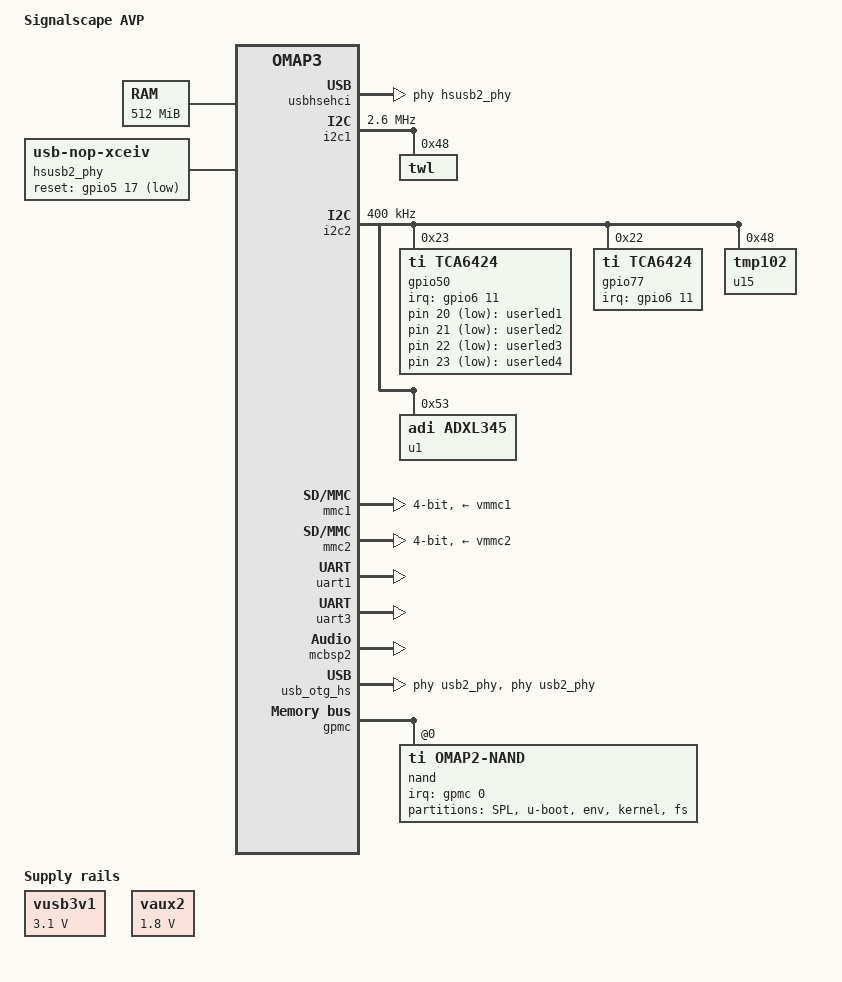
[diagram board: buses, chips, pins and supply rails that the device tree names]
/* -*- mode: dts-mode; */

/dts-v1/;

#include "omap36xx.dtsi"

/ {
	model = "Signalscape AVP";
	compatible = "signalscape,avp", "ti,omap3630", "ti,omap36xx", "ti,omap3";
	chosen {
		bootargs = "earlyprintk console=ttyO2,115200n8 console=ttyS2,115200n8";
	};

	cpus {
		cpu@0 {
			cpu0-supply = <&vcc>;
		};
	};

	memory {
		device_type = "memory";
		reg = <0x80000000 0x20000000>; /* 512 MB */
	};

	leds {
		compatible = "gpio-leds";
		heartbeat: userled1 {
			label = "userled1";
			gpios = <&gpio50 20 GPIO_ACTIVE_LOW>;
			linux,default-trigger = "heartbeat";
		};

		userled2: userled2 {
			label = "userled2";
			gpios = <&gpio50 21 GPIO_ACTIVE_LOW>;
			linux,default-trigger = "none";
		};

		userled3: userled3 {
			label = "userled3";
			gpios = <&gpio50 22 GPIO_ACTIVE_LOW>;
			linux,default-trigger = "none";
		};

		userled4: userled4 {
			label = "userled4";
			gpios = <&gpio50 23 GPIO_ACTIVE_LOW>;
			linux,default-trigger = "none";
		};
	};

#if 0
	/* TODO: if we brute-force these all on like this, then the
	associated USB devices don't enumerate properly AND we can't
	bounce them from userspace */

	usb_eth_en: usb_eth_en {
		compatible = "regulator-fixed";
		regulator-name = "usb_eth_en";
		regulator-min-microvolt = <3300000>;
		regulator-max-microvolt = <3300000>;
		gpio = <&gpio50 18 GPIO_ACTIVE_HIGH>;
		enable-active-high;
	};

	ledpwr_en {
		compatible = "regulator-fixed";
		regulator-name = "ledpwr_en";
		regulator-min-microvolt = <3300000>;
		regulator-max-microvolt = <3300000>;
		gpio = <&gpio50 11 GPIO_ACTIVE_HIGH>;
		enable-active-high;
		regulator-always-on;
	};

	gps_en {
		compatible = "regulator-fixed";
		regulator-name = "gps_en";
		regulator-min-microvolt = <3300000>;
		regulator-max-microvolt = <3300000>;
		gpio = <&gpio50 13 GPIO_ACTIVE_HIGH>;
		enable-active-high;
		regulator-always-on;
	};

	u56_en {
		compatible = "regulator-fixed";
		regulator-name = "7porthub1_en";
		regulator-min-microvolt = <3300000>;
		regulator-max-microvolt = <3300000>;
		gpio = <&gpio77 12 GPIO_ACTIVE_HIGH>;
		enable-active-high;
		regulator-always-on;
	};

	u71_en {
		compatible = "regulator-fixed";
		regulator-name = "7porthub2_en";
		regulator-min-microvolt = <3300000>;
		regulator-max-microvolt = <3300000>;
		gpio = <&gpio77 9 GPIO_ACTIVE_HIGH>;
		enable-active-high;
		regulator-always-on;
	};

	u73_en {
		compatible = "regulator-fixed";
		regulator-name = "quart1_en";
		regulator-min-microvolt = <3300000>;
		regulator-max-microvolt = <3300000>;
		gpio = <&gpio77 13 GPIO_ACTIVE_HIGH>;
		enable-active-high;
		regulator-always-on;
	};

	u72_en {
		compatible = "regulator-fixed";
		regulator-name = "quart2_en";
		regulator-min-microvolt = <3300000>;
		regulator-max-microvolt = <3300000>;
		gpio = <&gpio77 8 GPIO_ACTIVE_HIGH>;
		enable-active-high;
		regulator-always-on;
	};

	usb_a_top_en {
		compatible = "regulator-fixed";
		regulator-name = "usb_a_top_en";
		regulator-min-microvolt = <5000000>;
		regulator-max-microvolt = <5000000>;
		gpio = <&gpio77 15 GPIO_ACTIVE_HIGH>;
		enable-active-high;
		regulator-always-on;
	};

	usb_a_bot_en {
		compatible = "regulator-fixed";
		regulator-name = "usb_a_bot_en";
		regulator-min-microvolt = <5000000>;
		regulator-max-microvolt = <5000000>;
		gpio = <&gpio77 16 GPIO_ACTIVE_HIGH>;
		enable-active-high;
		regulator-always-on;
	};
#endif
};

&omap3_pmx_core {
	pinctrl-names = "default";
	pinctrl-0 = <&hsusb2_pins>;

	i2c1_pins: pinmux_i2c1_pins {
		pinctrl-single,pins = <
			OMAP3_CORE1_IOPAD(0x21c8, PIN_INPUT | MUX_MODE4)		/* mcspi1_clk.gpio_171 */
			OMAP3_CORE1_IOPAD(0x21ba, PIN_INPUT | MUX_MODE0)		/* i2c1_scl.i2c1_scl */
			OMAP3_CORE1_IOPAD(0x21bc, PIN_INPUT | MUX_MODE0)		/* i2c1_sda.i2c1_sda */
		>;
	};

	i2c2_pins: pinmux_i2c2_pins {
		pinctrl-single,pins = <
			OMAP3_CORE1_IOPAD(0x21be, PIN_INPUT | MUX_MODE0)		/* i2c2_scl.i2c2_scl */
			OMAP3_CORE1_IOPAD(0x21c0, PIN_INPUT | MUX_MODE0)		/* i2c2_sda.i2c2_sda */
		>;
	};

	mmc1_pins: pinmux_mmc1_pins {
		pinctrl-single,pins = <
			OMAP3_CORE1_IOPAD(0x2144, PIN_INPUT_PULLUP | MUX_MODE0)		/* sdmmc1_clk.sdmmc1_clk */
			OMAP3_CORE1_IOPAD(0x2146, PIN_INPUT_PULLUP | MUX_MODE0)		/* sdmmc1_cmd.sdmmc1_cmd */
			OMAP3_CORE1_IOPAD(0x2148, PIN_INPUT_PULLUP | MUX_MODE0)		/* sdmmc1_dat0.sdmmc1_dat0 */
			OMAP3_CORE1_IOPAD(0x214a, PIN_INPUT_PULLUP | MUX_MODE0)		/* sdmmc1_dat1.sdmmc1_dat1 */
			OMAP3_CORE1_IOPAD(0x214c, PIN_INPUT_PULLUP | MUX_MODE0)		/* sdmmc1_dat2.sdmmc1_dat2 */
			OMAP3_CORE1_IOPAD(0x214e, PIN_INPUT_PULLUP | MUX_MODE0)		/* sdmmc1_dat3.sdmmc1_dat3 */
		>;
	};

	mmc2_pins: pinmux_mmc2_pins {
		pinctrl-single,pins = <
			OMAP3_CORE1_IOPAD(0x2158, PIN_INPUT_PULLUP | MUX_MODE0)		/* sdmmc2_clk.sdmmc2_clk */
			OMAP3_CORE1_IOPAD(0x215a, PIN_INPUT_PULLUP | MUX_MODE0)		/* sdmmc2_cmd.sdmmc2_cmd */
			OMAP3_CORE1_IOPAD(0x215c, PIN_INPUT_PULLUP | MUX_MODE0)		/* sdmmc2_dat0.sdmmc2_dat0 */
			OMAP3_CORE1_IOPAD(0x215e, PIN_INPUT_PULLUP | MUX_MODE0)		/* sdmmc2_dat1.sdmmc2_dat1 */
			OMAP3_CORE1_IOPAD(0x2160, PIN_INPUT_PULLUP | MUX_MODE0)		/* sdmmc2_dat2.sdmmc2_dat2 */
			OMAP3_CORE1_IOPAD(0x2162, PIN_INPUT_PULLUP | MUX_MODE0)		/* sdmmc2_dat3.sdmmc2_dat3 */
		>;
	};

	/* TODO: break this apart, so that we set up GPIO without requiring USB */
	hsusb2_pins: pinmux_hsusb2_pins {
		pinctrl-single,pins = <
			OMAP3_CORE1_IOPAD(0x216c, PIN_OUTPUT | MUX_MODE4)		/* mcbsp3_dx.gpio_144 */
			OMAP3_CORE1_IOPAD(0x216e, PIN_OUTPUT | MUX_MODE4)		/* mcbsp3_dr.gpio_145 */
			OMAP3_CORE1_IOPAD(0x2170, PIN_OUTPUT | MUX_MODE4)		/* mcbsp3_clk.gpio_146 */
			OMAP3_CORE1_IOPAD(0x2172, PIN_OUTPUT | MUX_MODE4)		/* mcbsp3_fsx.gpio_147 */

			OMAP3_CORE1_IOPAD(0x21d4, PIN_INPUT_PULLDOWN | MUX_MODE3)	/* mcspi1_cs3.hsusb2_data2 */
			OMAP3_CORE1_IOPAD(0x21d6, PIN_INPUT_PULLDOWN | MUX_MODE3)	/* mcspi2_clk.hsusb2_data7 */
			OMAP3_CORE1_IOPAD(0x21d8, PIN_INPUT_PULLDOWN | MUX_MODE3)	/* mcspi2_simo.hsusb2_data4 */
			OMAP3_CORE1_IOPAD(0x21da, PIN_INPUT_PULLDOWN | MUX_MODE3)	/* mcspi2_somi.hsusb2_data5 */
			OMAP3_CORE1_IOPAD(0x21dc, PIN_INPUT_PULLDOWN | MUX_MODE3)	/* mcspi2_cs0.hsusb2_data6 */
			OMAP3_CORE1_IOPAD(0x21de, PIN_INPUT_PULLDOWN | MUX_MODE3)	/* mcspi2_cs1.hsusb2_data3 */
		>;
	};

	uart1_pins: pinmux_uart1_pins {
		pinctrl-single,pins = <
			OMAP3_CORE1_IOPAD(0x217c, PIN_INPUT | MUX_MODE0)		/* uart1_tx.uart1_tx */
			OMAP3_CORE1_IOPAD(0x217e, PIN_INPUT | MUX_MODE0)		/* uart1_rts.uart1_rts */
			OMAP3_CORE1_IOPAD(0x2180, PIN_INPUT | MUX_MODE0)		/* uart1_cts.uart1_cts */
			OMAP3_CORE1_IOPAD(0x2182, PIN_INPUT | MUX_MODE0)		/* uart1_rx.uart1_rx */
		>;
	};

	uart3_pins: pinmux_uart3_pins {
		pinctrl-single,pins = <
			OMAP3_CORE1_IOPAD(0x219a, PIN_INPUT | MUX_MODE0)		/* uart3_cts_rctx.uart3_cts_rctx */
			OMAP3_CORE1_IOPAD(0x219c, PIN_OUTPUT | MUX_MODE0)		/* uart3_rts_sd.uart3_rts_sd */
			OMAP3_CORE1_IOPAD(0x219e, PIN_INPUT | MUX_MODE0)		/* uart3_rx_irrx.uart3_rx_irrx */
			OMAP3_CORE1_IOPAD(0x21a0, PIN_OUTPUT | MUX_MODE0)		/* uart3_tx_irtx.uart3_tx_irtx */
		>;
	};
};

&omap3_pmx_core2 {
	pinctrl-names = "default";
	pinctrl-0 = <&hsusb2_2_pins>;

	hsusb2_2_pins: pinmux_hsusb2_2_pins {
		pinctrl-single,pins = <
			OMAP3630_CORE2_IOPAD(0x25f0, PIN_OUTPUT | MUX_MODE3)		/* etk_d10.hsusb2_clk */
			OMAP3630_CORE2_IOPAD(0x25f2, PIN_OUTPUT | MUX_MODE3)		/* etk_d11.hsusb2_stp */
			OMAP3630_CORE2_IOPAD(0x25f4, PIN_INPUT_PULLDOWN | MUX_MODE3)	/* etk_d12.hsusb2_dir */
			OMAP3630_CORE2_IOPAD(0x25f6, PIN_INPUT_PULLDOWN | MUX_MODE3)	/* etk_d13.hsusb2_nxt */
			OMAP3630_CORE2_IOPAD(0x25f8, PIN_INPUT_PULLDOWN | MUX_MODE3)	/* etk_d14.hsusb2_data0 */
			OMAP3630_CORE2_IOPAD(0x25fa, PIN_INPUT_PULLDOWN | MUX_MODE3)	/* etk_d15.hsusb2_data1 */
		>;
	};
};

/ {
	hsusb2_phy: hsusb2_phy {
		compatible = "usb-nop-xceiv";
		reset-gpios = <&gpio5 17 GPIO_ACTIVE_LOW>;
		/* TODO: vcc-supply = <&usb_eth_en>; */
	};
};

&usbhsehci {
	phys = <0 &hsusb2_phy>;
};

&usbhshost {
	port2-mode = "ehci-phy";
};

&i2c1 {
	pinctrl-names = "default";
	pinctrl-0 = <&i2c1_pins>;
	clock-frequency = <2600000>;

	twl: twl@48 {
		reg = <0x48>;
		interrupts = <7>; /* SYS_NIRQ cascaded to intc */
		interrupt-parent = <&intc>;
	};
};

&i2c2 {
	pinctrl-names = "default";
	pinctrl-0 = <&i2c2_pins>;
	clock-frequency = <400000>;

	/* general i/o u50 */
	gpio50: tca6424@23 {
		reg = <0x23>;
		compatible = "ti,tca6424";
		gpio-controller;
		interrupt-controller;
		interrupt-parent = <&gpio6>;
		interrupts = <11>;
		#interrupt-cells = <2>;
		#gpio-cells = <2>;
		status = "okay";
	};

	/* peripheral i/o u77 */
	gpio77: tca6424@22 {
		reg = <0x22>;
		compatible = "ti,tca6424";
		gpio-controller;
		interrupt-controller;
		interrupt-parent = <&gpio6>;
		interrupts = <11>;
		#interrupt-cells = <2>;
		#gpio-cells = <2>;
		status = "okay";
	};

	u15: tmp112@48 {
		reg = <0x48>;
		compatible = /* "tmp112", */ "tmp102";
#if 0
		/* TODO: the driver doesn't presently support ALERT */
		interrupt-parent = <&gpio6>;
		interrupts = <11>;
#endif
		status = "okay";
	};

	u1: adxl346@53 {
		reg = <0x53>;
		compatible = "adi,adxl345", "adi,adxl346";
#if 0
		/* TODO: the driver presently supports only IRQ_TYPE_LEVEL_HIGH */
		interrupt-parent = <&gpio6>;
		interrupts = <11 IRQ_TYPE_LEVEL_LOW>; /* gpio_171 */
#endif
		status = "okay";
	};
};

#include "twl4030.dtsi"
#include "twl4030_omap3.dtsi"

&vusb3v1 {
	regulator-name = "vusb3v1";
	regulator-min-microvolt = <3100000>;
	regulator-max-microvolt = <3100000>;
};

&vaux2 {
	regulator-name = "usb_1v8";
	regulator-min-microvolt = <1800000>;
	regulator-max-microvolt = <1800000>;
	regulator-always-on;
};

&mmc1 {
	pinctrl-names = "default";
	pinctrl-0 = <&mmc1_pins>;
	vmmc-supply = <&vmmc1>;
	bus-width = <4>;
	status = "okay";
};

&mmc2 {
	pinctrl-names = "default";
	pinctrl-0 = <&mmc2_pins>;
	vmmc-supply = <&vmmc2>;
	bus-width = <4>;
	status = "okay";
};

&uart1 {
	pinctrl-names = "default";
	pinctrl-0 = <&uart1_pins>;
	status = "okay";
};

&uart3 {
	pinctrl-names = "default";
	pinctrl-0 = <&uart3_pins>;
	status = "okay";
};

&mcbsp2 {
	status = "okay";
};

&usb_otg_hs {
	interface-type = <0>;
	usb-phy = <&usb2_phy>;
	phys = <&usb2_phy>;
	phy-names = "usb2-phy";
	mode = <3>;
	power = <50>;
};

&gpmc {
	ranges = <0 0 0x30000000 0x1000000>;	/* CS0 */

	nand@0,0 {
		compatible = "ti,omap2-nand";
		linux,mtd-name= "micron,mt29c4g96maz";
		reg = <0 0 4>;	/* CS0, offset 0, IO size 4 */
		interrupt-parent = <&gpmc>;
		interrupts = <0 IRQ_TYPE_NONE>, /* fifoevent */
			     <1 IRQ_TYPE_NONE>;	/* termcount */
		nand-bus-width = <16>;
		gpmc,device-width = <2>;
		ti,nand-ecc-opt = "bch8";

		gpmc,sync-clk-ps = <0>;
		gpmc,cs-on-ns = <0>;
		gpmc,cs-rd-off-ns = <44>;
		gpmc,cs-wr-off-ns = <44>;
		gpmc,adv-on-ns = <6>;
		gpmc,adv-rd-off-ns = <34>;
		gpmc,adv-wr-off-ns = <44>;
		gpmc,we-off-ns = <40>;
		gpmc,oe-off-ns = <54>;
		gpmc,access-ns = <64>;
		gpmc,rd-cycle-ns = <82>;
		gpmc,wr-cycle-ns = <82>;
		gpmc,wr-access-ns = <40>;
		gpmc,wr-data-mux-bus-ns = <0>;

		#address-cells = <1>;
		#size-cells = <1>;

		partition@0 {
			label = "SPL";
			reg = <0 0x80000>; /* 512KiB */
		};
		partition@80000 {
			label = "u-boot";
			reg = <0x80000 0x1C0000>; /* 1792KiB */
		};
		partition@1c0000 {
			label = "env";
			reg = <0x240000 0x40000>; /* 256KiB */
		};
		partition@280000 {
			label = "kernel";
			reg = <0x280000 0x800000>; /* 8192KiB */
		};
		partition@780000 {
			label = "fs";
			reg = <0xA80000 0>;
			/* HACK: MTDPART_SIZ_FULL=0 so fill to end */
		};
	};
};
